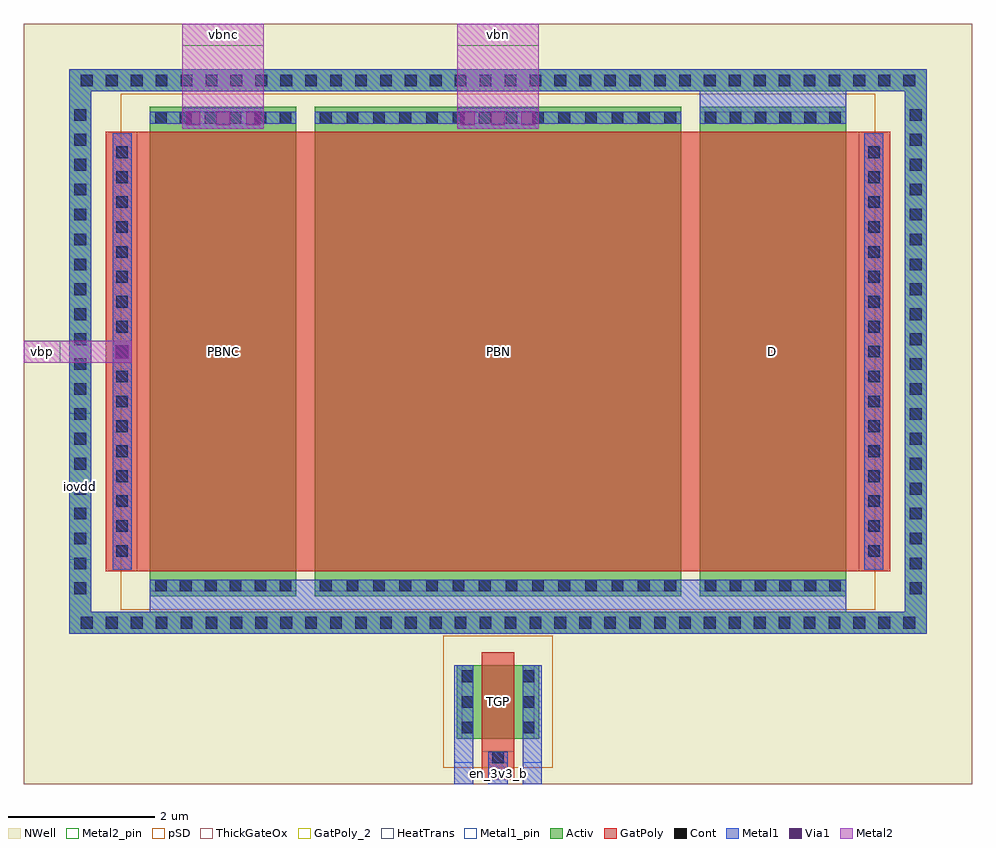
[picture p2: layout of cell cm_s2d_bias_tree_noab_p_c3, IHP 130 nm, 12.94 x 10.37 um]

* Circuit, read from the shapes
.subckt cm_s2d_bias_tree_noab_p_c3 en_3v3_b iovdd iref ni vbn vbnc vbp
XM1 vbnc vbp iovdd iovdd sg13_hv_pmos w=2u l=6u
XM2 vbn vbp iovdd iovdd sg13_hv_pmos w=5u l=6u
XM3 ni en_3v3_b iref iovdd sg13_hv_pmos w=1u l=0.45u
XM4 iovdd vbp iovdd iovdd sg13_hv_pmos w=2u l=6u
.ends

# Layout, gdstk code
from math import pi, radians
import gdstk
lib = gdstk.Library(unit=1e-6, precision=1e-09)
def R(c, l, rs):  # rectangles x0, y0, x1, y1
    for r in rs: c.add(gdstk.rectangle(r[:2], r[2:], *l))
def A(c, l, x, y, w, h, nx, ny, dx, dy):  # array of equal rectangles
    R(c, l, [(x+i*dx, y+j*dy, x+i*dx+w, y+j*dy+h) for i in range(nx) for j in range(ny)])
Activ = (1, 0)
GatPoly = (5, 0)
GatPoly_2 = (5, 2)
Cont = (6, 0)
Metal1 = (8, 0)
Metal1_pin = (8, 2)
Metal2 = (10, 0)
Metal2_pin = (10, 2)
pSD = (14, 0)
Via1 = (19, 0)
NWell = (31, 0)
ThickGateOx = (44, 0)
HeatTrans = (51, 0)

cm_s2d_pmoshv_w5_l6 = lib.new_cell('cm_s2d_pmosHV_w5_l6')
R(cm_s2d_pmoshv_w5_l6, Activ, [(0,0,0.3,0.3), (0,0,6.68,5), (6.38,0,6.68,0.3)])
R(cm_s2d_pmoshv_w5_l6, GatPoly, [(0.34,-0.18,6.34,5.18)])
R(cm_s2d_pmoshv_w5_l6, GatPoly_2, [(0.34,-0.18,6.34,5.18)])
A(cm_s2d_pmoshv_w5_l6, Cont, 0.07, 0.07, 0.16, 0.16, 1, 4, 0, 0.36)
A(cm_s2d_pmoshv_w5_l6, Cont, 6.45, 0.07, 0.16, 0.16, 1, 4, 0, 0.36)
A(cm_s2d_pmoshv_w5_l6, Cont, 0.07, 1.515, 0.16, 0.16, 1, 3, 0, 0.36)
A(cm_s2d_pmoshv_w5_l6, Cont, 6.45, 1.515, 0.16, 0.16, 1, 3, 0, 0.36)
A(cm_s2d_pmoshv_w5_l6, Cont, 0.07, 2.6, 0.16, 0.16, 1, 3, 0, 0.36)
A(cm_s2d_pmoshv_w5_l6, Cont, 6.45, 2.6, 0.16, 0.16, 1, 3, 0, 0.36)
A(cm_s2d_pmoshv_w5_l6, Cont, 0.07, 3.685, 0.16, 0.16, 1, 3, 0, 0.36)
A(cm_s2d_pmoshv_w5_l6, Cont, 6.45, 3.685, 0.16, 0.16, 1, 3, 0, 0.36)
R(cm_s2d_pmoshv_w5_l6, Cont, [(0.07,4.77,0.23,4.93), (6.45,4.77,6.61,4.93)])
R(cm_s2d_pmoshv_w5_l6, Metal1, [(0.07,0,0.23,5), (6.45,0,6.61,5)])
R(cm_s2d_pmoshv_w5_l6, Metal1_pin, [(0.07,0,0.23,5), (6.45,0,6.61,5)])
R(cm_s2d_pmoshv_w5_l6, pSD, [(-0.18,-0.4,6.86,5.4)])
R(cm_s2d_pmoshv_w5_l6, NWell, [(-0.62,-0.62,7.3,5.62)])
R(cm_s2d_pmoshv_w5_l6, ThickGateOx, [(-0.62,-0.62,7.3,5.62)])
R(cm_s2d_pmoshv_w5_l6, HeatTrans, [(0.34,-0.18,6.34,5.18)])
cm_s2d_pmoshv_w5_l6.add(gdstk.Label('pmosHV', (3.34,2.5), layer=63, texttype=0))
cm_s2d_pmoshv_w5_l6.add(gdstk.Label('pmos', (3.34,2.5), layer=51, texttype=0))

cm_s2d_pmoshv_w2_l6 = lib.new_cell('cm_s2d_pmosHV_w2_l6')
R(cm_s2d_pmoshv_w2_l6, Activ, [(0,0,0.3,0.3), (0,0,6.68,2), (6.38,0,6.68,0.3)])
R(cm_s2d_pmoshv_w2_l6, GatPoly, [(0.34,-0.18,6.34,2.18)])
R(cm_s2d_pmoshv_w2_l6, GatPoly_2, [(0.34,-0.18,6.34,2.18)])
A(cm_s2d_pmoshv_w2_l6, Cont, 0.07, 0.07, 0.16, 0.16, 1, 6, 0, 0.34)
A(cm_s2d_pmoshv_w2_l6, Cont, 6.45, 0.07, 0.16, 0.16, 1, 6, 0, 0.34)
R(cm_s2d_pmoshv_w2_l6, Metal1, [(0.07,0,0.23,2), (6.45,0,6.61,2)])
R(cm_s2d_pmoshv_w2_l6, Metal1_pin, [(0.07,0,0.23,2), (6.45,0,6.61,2)])
R(cm_s2d_pmoshv_w2_l6, pSD, [(-0.18,-0.4,6.86,2.4)])
R(cm_s2d_pmoshv_w2_l6, NWell, [(-0.62,-0.62,7.3,2.62)])
R(cm_s2d_pmoshv_w2_l6, ThickGateOx, [(-0.62,-0.62,7.3,2.62)])
R(cm_s2d_pmoshv_w2_l6, HeatTrans, [(0.34,-0.18,6.34,2.18)])
cm_s2d_pmoshv_w2_l6.add(gdstk.Label('pmosHV', (3.34,1), layer=63, texttype=0))
cm_s2d_pmoshv_w2_l6.add(gdstk.Label('pmos', (3.34,1), layer=51, texttype=0))

cm_s2d_pmoshv_w1_l0p45 = lib.new_cell('cm_s2d_pmosHV_w1_l0p45')
R(cm_s2d_pmoshv_w1_l0p45, Activ, [(0,0,0.3,0.3), (0,0,1.13,1), (0.83,0,1.13,0.3)])
R(cm_s2d_pmoshv_w1_l0p45, GatPoly, [(0.34,-0.18,0.79,1.18)])
R(cm_s2d_pmoshv_w1_l0p45, GatPoly_2, [(0.34,-0.18,0.79,1.18)])
A(cm_s2d_pmoshv_w1_l0p45, Cont, 0.07, 0.07, 0.16, 0.16, 1, 3, 0, 0.35)
A(cm_s2d_pmoshv_w1_l0p45, Cont, 0.9, 0.07, 0.16, 0.16, 1, 3, 0, 0.35)
R(cm_s2d_pmoshv_w1_l0p45, Metal1, [(0.07,0,0.23,1), (0.9,0,1.06,1)])
R(cm_s2d_pmoshv_w1_l0p45, Metal1_pin, [(0.07,0,0.23,1), (0.9,0,1.06,1)])
R(cm_s2d_pmoshv_w1_l0p45, pSD, [(-0.18,-0.4,1.31,1.4)])
R(cm_s2d_pmoshv_w1_l0p45, NWell, [(-0.62,-0.62,1.75,1.62)])
R(cm_s2d_pmoshv_w1_l0p45, ThickGateOx, [(-0.62,-0.62,1.75,1.62)])
R(cm_s2d_pmoshv_w1_l0p45, HeatTrans, [(0.34,-0.18,0.79,1.18)])
cm_s2d_pmoshv_w1_l0p45.add(gdstk.Label('pmosHV', (0.565,0.5), layer=63, texttype=0))
cm_s2d_pmoshv_w1_l0p45.add(gdstk.Label('pmos', (0.565,0.5), layer=51, texttype=0))

cm_s2d_bias_tree_noab_p_ = lib.new_cell('cm_s2d_bias_tree_noab_p_c3')
R(cm_s2d_bias_tree_noab_p_, Activ, [(0.62,2.05,12.32,2.35), (0.62,2.35,0.92,9.45), (12.02,2.35,12.32,9.45), (0.62,9.45,12.32,9.75)])
R(cm_s2d_bias_tree_noab_p_, GatPoly, [(6.245,0.06,6.695,0.62), (1.12,2.9,1.72,8.9), (11.22,2.9,11.82,8.9)])
A(cm_s2d_bias_tree_noab_p_, Cont, 0.78, 2.12, 0.16, 0.16, 34, 2, 0.34, 7.4)
A(cm_s2d_bias_tree_noab_p_, Cont, 0.69, 2.59, 0.16, 0.16, 1, 20, 0, 0.34)
A(cm_s2d_bias_tree_noab_p_, Cont, 12.09, 2.59, 0.16, 0.16, 1, 20, 0, 0.34)
A(cm_s2d_bias_tree_noab_p_, Cont, 1.26, 3.1, 0.16, 0.16, 1, 17, 0, 0.34)
A(cm_s2d_bias_tree_noab_p_, Cont, 11.52, 3.1, 0.16, 0.16, 1, 17, 0, 0.34)
R(cm_s2d_bias_tree_noab_p_, Cont, [(6.39,0.28,6.55,0.44)])
R(cm_s2d_bias_tree_noab_p_, Metal1, [(5.875,0,6.135,1.62), (6.34,0,6.6,0.44), (6.805,0,7.065,1.62), (0.62,2.05,12.32,2.35), (1.72,2.05,11.22,2.79), (0.62,2.35,0.92,9.45), (12.02,2.35,12.32,9.45), (1.21,2.92,1.47,8.88), (11.47,2.92,11.73,8.88), (2.165,8.94,3.275,9.23), (5.915,8.94,7.025,9.23), (9.22,9.01,11.22,9.45), (0.62,9.45,12.32,9.75)])
A(cm_s2d_bias_tree_noab_p_, Metal1_pin, 5.875, 0, 0.26, 0.3, 3, 1, 0.465, 0)
R(cm_s2d_bias_tree_noab_p_, Metal1_pin, [(0.62,3.06,0.92,5.06)])
R(cm_s2d_bias_tree_noab_p_, Metal2, [(0,5.75,1.47,6.05), (2.165,8.94,3.275,10.37), (5.915,8.94,7.025,10.37)])
R(cm_s2d_bias_tree_noab_p_, Metal2_pin, [(0,5.75,0.5,6.05), (2.165,10.07,3.275,10.37), (5.915,10.07,7.025,10.37)])
A(cm_s2d_bias_tree_noab_p_, Via1, 2.215, 8.99, 0.19, 0.19, 3, 1, 0.41, 0)
A(cm_s2d_bias_tree_noab_p_, Via1, 5.965, 8.99, 0.19, 0.19, 3, 1, 0.41, 0)
R(cm_s2d_bias_tree_noab_p_, Via1, [(1.245,5.805,1.435,5.995)])
R(cm_s2d_bias_tree_noab_p_, NWell, [(0,0,12.94,10.37)])
R(cm_s2d_bias_tree_noab_p_, ThickGateOx, [(0,0,12.94,10.37)])
cm_s2d_bias_tree_noab_p_.add(gdstk.Reference(cm_s2d_pmoshv_w5_l6, (8.97,2.56), rotation=pi/2))
cm_s2d_bias_tree_noab_p_.add(gdstk.Reference(cm_s2d_pmoshv_w2_l6, (3.72,2.56), rotation=pi/2))
cm_s2d_bias_tree_noab_p_.add(gdstk.Reference(cm_s2d_pmoshv_w2_l6, (9.22,2.56), rotation=pi/2, x_reflection=True))
cm_s2d_bias_tree_noab_p_.add(gdstk.Reference(cm_s2d_pmoshv_w1_l0p45, (5.905,1.62), x_reflection=True))
cm_s2d_bias_tree_noab_p_.add(gdstk.Label('PBNC', (2.72,5.9), layer=63, texttype=0))
cm_s2d_bias_tree_noab_p_.add(gdstk.Label('PBN', (6.47,5.9), layer=63, texttype=0))
cm_s2d_bias_tree_noab_p_.add(gdstk.Label('D', (10.22,5.9), layer=63, texttype=0))
cm_s2d_bias_tree_noab_p_.add(gdstk.Label('TGP', (6.47,1.12), layer=63, texttype=0))
cm_s2d_bias_tree_noab_p_.add(gdstk.Label('iovdd', (0.77,4.06), layer=8, texttype=25))
cm_s2d_bias_tree_noab_p_.add(gdstk.Label('en_3v3_b', (6.47,0.15), layer=8, texttype=25))
cm_s2d_bias_tree_noab_p_.add(gdstk.Label('iref', (6.005,0.15), layer=8, texttype=25))
cm_s2d_bias_tree_noab_p_.add(gdstk.Label('ni', (6.935,0.15), layer=8, texttype=25))
cm_s2d_bias_tree_noab_p_.add(gdstk.Label('vbnc', (2.72,10.22), layer=10, texttype=25))
cm_s2d_bias_tree_noab_p_.add(gdstk.Label('vbn', (6.47,10.22), layer=10, texttype=25))
cm_s2d_bias_tree_noab_p_.add(gdstk.Label('vbp', (0.25,5.9), layer=10, texttype=25))

lib.write_gds('cm_s2d_bias_tree_noab_p_c3.gds')
